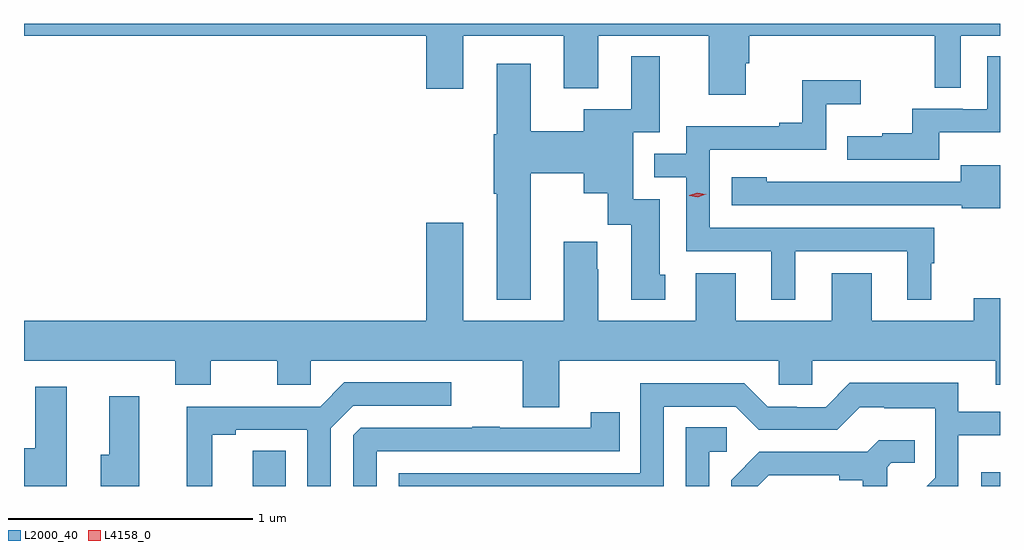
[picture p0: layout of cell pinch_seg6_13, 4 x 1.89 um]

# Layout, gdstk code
import gdstk
lib = gdstk.Library(unit=1e-6, precision=1e-09)
def R(c, l, rs):  # rectangles x0, y0, x1, y1
    for r in rs: c.add(gdstk.rectangle(r[:2], r[2:], *l))
def P(c, l, *ps):  # polygons
    for p in ps: c.add(gdstk.Polygon(p, *l))
L2000_40 = (2000, 40)
L4158_0 = (4158, 0)

pinch_seg6_13 = lib.new_cell('pinch_seg6_13')
R(pinch_seg6_13, L2000_40, [(938.324,996.106,938.458,996.251), (941.309,996.106,941.386,996.163)])
P(pinch_seg6_13, L2000_40, [(940.345,997.839),(940.358,997.839),(940.358,997.952),(941.118,997.952),(941.118,997.738),(941.226,997.738),(941.226,997.952),(941.386,997.952),(941.386,998),(937.386,998),(937.386,997.952),(939.035,997.952),(939.035,997.734),(939.187,997.734),(939.187,997.952),(939.599,997.952),(939.599,997.736),(939.739,997.736),(939.739,997.952),(940.193,997.952),(940.193,997.71),(940.345,997.71)],
  [(939.463,997.388),(939.68,997.388),(939.68,997.307),(939.779,997.307),(939.779,997.176),(939.875,997.176),(939.875,996.87),(940.015,996.87),(940.015,996.972),(939.991,996.972),(939.991,997.281),(939.882,997.281),(939.882,997.557),(939.991,997.557),(939.991,997.867),(939.875,997.867),(939.875,997.651),(939.68,997.651),(939.68,997.56),(939.463,997.56),(939.463,997.837),(939.323,997.837),(939.323,997.548),(939.311,997.548),(939.311,997.304),(939.323,997.304),(939.323,996.869),(939.463,996.869)],
  [(941.137,997.556),(941.386,997.556),(941.386,997.867),(941.334,997.867),(941.334,997.65),(941.234,997.65),(941.234,997.653),(941.027,997.653),(941.027,997.552),(940.903,997.552),(940.903,997.54),(940.759,997.54),(940.759,997.443),(941.137,997.443)],
  [(940.546,997.068),(941.006,997.068),(941.006,996.869),(941.104,996.869),(941.104,997.02),(941.116,997.02),(941.116,997.164),(940.197,997.164),(940.197,997.485),(940.674,997.485),(940.674,997.67),(940.816,997.67),(940.816,997.769),(940.576,997.769),(940.576,997.594),(940.481,997.594),(940.481,997.581),(940.101,997.581),(940.101,997.467),(939.968,997.467),(939.968,997.371),(940.101,997.371),(940.101,997.068),(940.448,997.068),(940.448,996.869),(940.546,996.869)],
  [(941.386,997.42),(941.225,997.42),(941.225,997.353),(940.667,997.353),(940.667,997.354),(940.431,997.354),(940.431,997.372),(940.287,997.372),(940.287,997.257),(941.229,997.257),(941.229,997.245),(941.386,997.245)],
  [(939.579,996.62),(940.479,996.62),(940.479,996.522),(940.617,996.522),(940.617,996.62),(941.369,996.62),(941.369,996.521),(941.386,996.521),(941.386,996.875),(941.279,996.875),(941.279,996.784),(940.861,996.784),(940.861,996.979),(940.697,996.979),(940.697,996.784),(940.303,996.784),(940.303,996.979),(940.139,996.979),(940.139,996.784),(939.739,996.784),(939.739,996.995),(939.736,996.995),(939.736,997.108),(939.599,997.108),(939.599,996.784),(939.187,996.784),(939.187,997.186),(939.035,997.186),(939.035,996.784),(937.386,996.784),(937.386,996.62),(938.005,996.62),(938.005,996.521),(938.152,996.521),(938.152,996.62),(938.423,996.62),(938.423,996.522),(938.562,996.522),(938.562,996.62),(939.431,996.62),(939.431,996.43),(939.579,996.43)],
  [(938.158,996.316),(938.254,996.316),(938.254,996.336),(938.547,996.336),(938.547,996.106),(938.643,996.106),(938.643,996.342),(938.736,996.435),(939.136,996.435),(939.136,996.531),(938.699,996.531),(938.6,996.432),(938.054,996.432),(938.054,996.106),(938.158,996.106)],
  [(940.008,996.432),(940.302,996.432),(940.398,996.336),(940.719,996.336),(940.812,996.429),(940.912,996.429),(940.912,996.425),(941.121,996.425),(941.121,996.141),(941.086,996.106),(941.214,996.106),(941.214,996.314),(941.386,996.314),(941.386,996.411),(941.215,996.411),(941.215,996.529),(940.771,996.529),(940.671,996.429),(940.554,996.429),(940.554,996.432),(940.434,996.432),(940.338,996.528),(939.912,996.528),(939.912,996.159),(938.922,996.159),(938.922,996.106),(940.008,996.106)],
  [(937.561,996.514),(937.433,996.514),(937.433,996.262),(937.386,996.262),(937.386,996.106),(937.561,996.106)],
  [(937.858,996.475),(937.736,996.475),(937.736,996.234),(937.7,996.234),(937.7,996.106),(937.858,996.106)],
  [(938.832,996.249),(939.827,996.249),(939.827,996.409),(939.709,996.409),(939.709,996.345),(939.335,996.345),(939.335,996.35),(939.223,996.35),(939.223,996.345),(938.766,996.345),(938.736,996.315),(938.736,996.106),(938.832,996.106)],
  [(940.194,996.246),(940.267,996.246),(940.267,996.347),(940.098,996.347),(940.098,996.106),(940.194,996.106)],
  [(940.438,996.15),(940.727,996.15),(940.727,996.13),(940.823,996.13),(940.823,996.106),(940.923,996.106),(940.923,996.183),(940.941,996.201),(941.036,996.201),(941.036,996.293),(940.89,996.293),(940.842,996.246),(940.4,996.246),(940.284,996.13),(940.284,996.106),(940.394,996.106)])
P(pinch_seg6_13, L4158_0, [(940.148,997.289),(940.113,997.296),(940.112,997.297),(940.113,997.297),(940.146,997.309),(940.181,997.302),(940.182,997.302),(940.181,997.302)])

lib.write_gds('pinch_seg6_13.gds')
